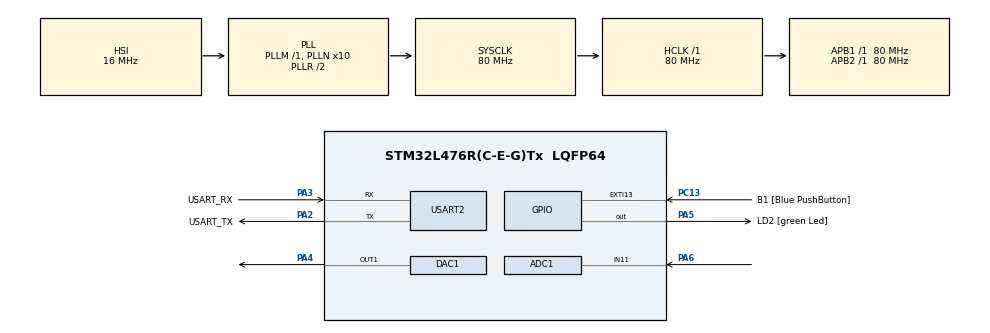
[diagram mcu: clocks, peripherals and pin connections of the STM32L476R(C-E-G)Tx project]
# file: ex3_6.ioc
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ADC1.Channel-1\#ChannelRegularConversion=ADC_CHANNEL_11
ADC1.ExternalTrigConv=ADC_EXTERNALTRIG_T6_TRGO
ADC1.NbrOfConversionFlag=1
ADC1.OffsetNumber-1\#ChannelRegularConversion=ADC_OFFSET_NONE
ADC1.Rank-1\#ChannelRegularConversion=1
ADC1.SamplingTime-1\#ChannelRegularConversion=ADC_SAMPLETIME_92CYCLES_5
ADC1.master=1
Mcu.Family=STM32L4
Mcu.Name=STM32L476R(C-E-G)Tx
Mcu.Package=LQFP64
NVIC.ADC1_2_IRQn=true\:0\:0\:false\:false\:true\:true\:true
NVIC.PriorityGroup=NVIC_PRIORITYGROUP_4
NVIC.TIM6_DAC_IRQn=true\:0\:0\:false\:false\:true\:true\:true
PA13\ (JTMS-SWDIO).GPIO_Label=TMS
PA13\ (JTMS-SWDIO).Mode=Serial_Wire
PA13\ (JTMS-SWDIO).Signal=SYS_JTMS-SWDIO
PA14\ (JTCK-SWCLK).GPIO_Label=TCK
PA14\ (JTCK-SWCLK).Mode=Serial_Wire
PA14\ (JTCK-SWCLK).Signal=SYS_JTCK-SWCLK
PA2.GPIO_Label=USART_TX
PA2.GPIO_Mode=GPIO_MODE_AF_PP
PA2.GPIO_PuPd=GPIO_NOPULL
PA2.GPIO_Speed=GPIO_SPEED_FREQ_VERY_HIGH
PA2.Mode=Asynchronous
PA2.Signal=USART2_TX
PA3.GPIO_Label=USART_RX
PA3.GPIO_Mode=GPIO_MODE_AF_PP
PA3.GPIO_PuPd=GPIO_NOPULL
PA3.GPIO_Speed=GPIO_SPEED_FREQ_VERY_HIGH
PA3.Mode=Asynchronous
PA3.Signal=USART2_RX
PA4.Signal=COMP_DAC11_group
PA5.GPIO_Label=LD2 [green Led]
PA5.GPIO_ModeDefaultOutputPP=GPIO_MODE_OUTPUT_PP
PA5.GPIO_PuPd=GPIO_NOPULL
PA5.GPIO_Speed=GPIO_SPEED_FREQ_LOW
PA5.Signal=GPIO_Output
PA6.Signal=ADCx_IN11
PB3\ (JTDO-TRACESWO).GPIO_Label=SWO
PB3\ (JTDO-TRACESWO).Signal=SYS_JTDO-SWO
PC13.GPIO_Label=B1 [Blue PushButton]
PC13.GPIO_ModeDefaultEXTI=GPIO_MODE_IT_FALLING
PC13.GPIO_PuPd=GPIO_NOPULL
PC13.Signal=GPXTI13
PC14-OSC32_IN\ (PC14).Mode=LSE-External-Oscillator
PC14-OSC32_IN\ (PC14).Signal=RCC_OSC32_IN
PC15-OSC32_OUT\ (PC15).Mode=LSE-External-Oscillator
PC15-OSC32_OUT\ (PC15).Signal=RCC_OSC32_OUT
PH0-OSC_IN\ (PH0).Signal=RCC_OSC_IN
PH1-OSC_OUT\ (PH1).Signal=RCC_OSC_OUT
ProjectManager.HeapSize=0x200
ProjectManager.StackSize=0x400
ProjectManager.TargetToolchain=STM32CubeIDE
RCC.ADCFreq_Value=64000000
RCC.AHBFreq_Value=80000000
RCC.APB1Freq_Value=80000000
RCC.APB1TimFreq_Value=80000000
RCC.APB2Freq_Value=80000000
RCC.APB2TimFreq_Value=80000000
RCC.CortexFreq_Value=80000000
RCC.HCLKFreq_Value=80000000
RCC.HSE_VALUE=8000000
RCC.HSI_VALUE=16000000
RCC.MSI_VALUE=4000000
RCC.PLLN=10
RCC.PLLSourceVirtual=RCC_PLLSOURCE_HSI
RCC.PREFETCH_ENABLE=1
RCC.SYSCLKFreq_VALUE=80000000
RCC.SYSCLKSource=RCC_SYSCLKSOURCE_PLLCLK
RCC.USBFreq_Value=64000000
RCC.VCOOutputFreq_Value=160000000
SH.ADCx_IN11.0=ADC1_IN11,IN11-Single-Ended
SH.COMP_DAC11_group.0=DAC1_OUT1,DAC_OUT1
TIM6.Period=4999
TIM6.Prescaler=7999
TIM6.TIM_MasterOutputTrigger=TIM_TRGO_UPDATE
USART2.VirtualMode-Asynchronous=VM_ASYNC
VP_TIM6_VS_ClockSourceINT.Mode=Enable_Timer
board=NUCLEO-L476RG

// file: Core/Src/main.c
/* USER CODE BEGIN Header */
/**
  ******************************************************************************
  * @file           : main.c
  * @brief          : Main program body
  ******************************************************************************
  * @attention
  *
  * <h2><center>&copy; Copyright (c) 2021 STMicroelectronics.
  * All rights reserved.</center></h2>
  *
  * This software component is licensed by ST under BSD 3-Clause license,
  * the "License"; You may not use this file except in compliance with the
  * License. You may obtain a copy of the License at:
  *                        opensource.org/licenses/BSD-3-Clause
  *
  ******************************************************************************
  */
/* USER CODE END Header */
#include "main.h"
#include "adc.h"
#include "dac.h"
#include "tim.h"
#include "usart.h"
#include "gpio.h"

/* USER CODE BEGIN Includes */
#include <stdio.h>
/* USER CODE END Includes */

/* USER CODE BEGIN PD */
#define ADC_BUF_LEN 4096
/* USER CODE END PD */

/* USER CODE BEGIN PV */
uint32_t DACValue[] = {0, 38, 76, 114, 152, 190, 228, 255};
volatile uint16_t Value;
/* USER CODE END PV */

void SystemClock_Config(void);
/* USER CODE BEGIN PFP */
int _write(int file, char *ptr, int len) {
	HAL_UART_Transmit(&huart2, (uint8_t*)ptr, len, 50);
	return len;
}

void HAL_ADC_ConvCpltCallback(ADC_HandleTypeDef* hadc){
	if(hadc== &hadc1){
		 Value=HAL_ADC_GetValue(&hadc1);
		 HAL_ADC_Start_IT(&hadc1);
	}
}
/* USER CODE END PFP */

int main(void)
{
  /* USER CODE BEGIN 1 */
	uint32_t HelpTime = 0;
	uint8_t i = 0;

  /* USER CODE END 1 */

  /* MCU Configuration--------------------------------------------------------*/

  /* Reset of all peripherals, Initializes the Flash interface and the Systick. */
  HAL_Init();

  /* Configure the system clock */
  SystemClock_Config();

  /* Initialize all configured peripherals */
  MX_GPIO_Init();
  MX_USART2_UART_Init();
  MX_ADC1_Init();
  MX_DAC1_Init();
  MX_TIM6_Init();
  /* USER CODE BEGIN 2 */
  HAL_TIM_Base_Start_IT(&htim6);
  HAL_ADC_Start_IT(&hadc1);
  HAL_DAC_SetValue(&hdac1 , DAC_CHANNEL_1, DAC_ALIGN_8B_R, 0);
  HAL_DAC_Start(&hdac1, DAC_CHANNEL_1);
  /* USER CODE END 2 */

  /* Infinite loop */
  /* USER CODE BEGIN WHILE */
  while (1)
  {
	  if((HAL_GetTick()-HelpTime) == 2000){
	  	  HelpTime=HAL_GetTick();
	  	  HAL_DAC_SetValue(&hdac1 , DAC_CHANNEL_1, DAC_ALIGN_8B_R, DACValue[i++]);
		  printf("wartosc zmierzona: %d \r\n" , Value);
		  HAL_Delay(10);

		  if(i==8){
			  i=0;
		  }
	  }

    /* USER CODE END WHILE */

  }
}

void SystemClock_Config(void)
{
  RCC_OscInitTypeDef RCC_OscInitStruct = {0};
  RCC_ClkInitTypeDef RCC_ClkInitStruct = {0};
  RCC_PeriphCLKInitTypeDef PeriphClkInit = {0};

  /** Initializes the RCC Oscillators according to the specified parameters
  * in the RCC_OscInitTypeDef structure.
  */
  RCC_OscInitStruct.OscillatorType = RCC_OSCILLATORTYPE_HSI;
  RCC_OscInitStruct.HSIState = RCC_HSI_ON;
  RCC_OscInitStruct.HSICalibrationValue = RCC_HSICALIBRATION_DEFAULT;
  RCC_OscInitStruct.PLL.PLLState = RCC_PLL_ON;
  RCC_OscInitStruct.PLL.PLLSource = RCC_PLLSOURCE_HSI;
  RCC_OscInitStruct.PLL.PLLM = 1;
  RCC_OscInitStruct.PLL.PLLN = 10;
  RCC_OscInitStruct.PLL.PLLP = RCC_PLLP_DIV7;
  RCC_OscInitStruct.PLL.PLLQ = RCC_PLLQ_DIV2;
  RCC_OscInitStruct.PLL.PLLR = RCC_PLLR_DIV2;
  if (HAL_RCC_OscConfig(&RCC_OscInitStruct) != HAL_OK)
  {
    Error_Handler();
  }
  /** Initializes the CPU, AHB and APB buses clocks
  */
  RCC_ClkInitStruct.ClockType = RCC_CLOCKTYPE_HCLK|RCC_CLOCKTYPE_SYSCLK
                              |RCC_CLOCKTYPE_PCLK1|RCC_CLOCKTYPE_PCLK2;
  RCC_ClkInitStruct.SYSCLKSource = RCC_SYSCLKSOURCE_PLLCLK;
  RCC_ClkInitStruct.AHBCLKDivider = RCC_SYSCLK_DIV1;
  RCC_ClkInitStruct.APB1CLKDivider = RCC_HCLK_DIV1;
  RCC_ClkInitStruct.APB2CLKDivider = RCC_HCLK_DIV1;

  if (HAL_RCC_ClockConfig(&RCC_ClkInitStruct, FLASH_LATENCY_4) != HAL_OK)
  {
    Error_Handler();
  }
  PeriphClkInit.PeriphClockSelection = RCC_PERIPHCLK_USART2|RCC_PERIPHCLK_ADC;
  PeriphClkInit.Usart2ClockSelection = RCC_USART2CLKSOURCE_PCLK1;
  PeriphClkInit.AdcClockSelection = RCC_ADCCLKSOURCE_PLLSAI1;
  PeriphClkInit.PLLSAI1.PLLSAI1Source = RCC_PLLSOURCE_HSI;
  PeriphClkInit.PLLSAI1.PLLSAI1M = 1;
  PeriphClkInit.PLLSAI1.PLLSAI1N = 8;
  PeriphClkInit.PLLSAI1.PLLSAI1P = RCC_PLLP_DIV7;
  PeriphClkInit.PLLSAI1.PLLSAI1Q = RCC_PLLQ_DIV2;
  PeriphClkInit.PLLSAI1.PLLSAI1R = RCC_PLLR_DIV2;
  PeriphClkInit.PLLSAI1.PLLSAI1ClockOut = RCC_PLLSAI1_ADC1CLK;
  if (HAL_RCCEx_PeriphCLKConfig(&PeriphClkInit) != HAL_OK)
  {
    Error_Handler();
  }
  /** Configure the main internal regulator output voltage
  */
  if (HAL_PWREx_ControlVoltageScaling(PWR_REGULATOR_VOLTAGE_SCALE1) != HAL_OK)
  {
    Error_Handler();
  }
}

void Error_Handler(void)
{
}

/************************ (C) COPYRIGHT STMicroelectronics *****END OF FILE****/
